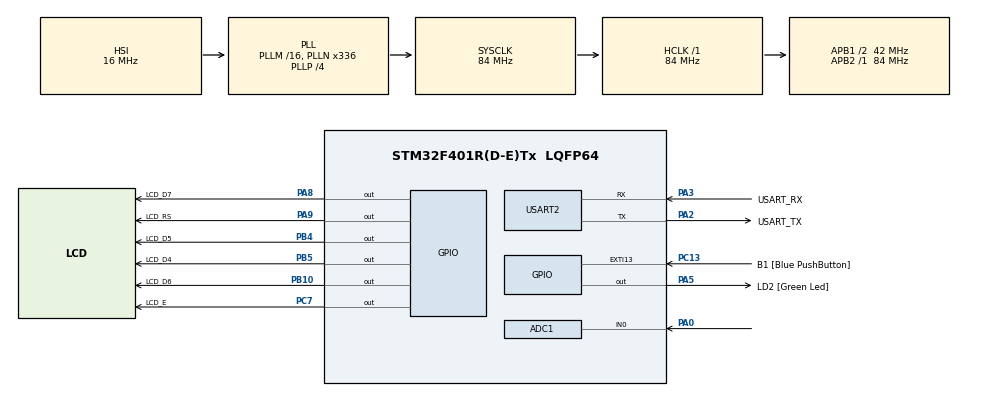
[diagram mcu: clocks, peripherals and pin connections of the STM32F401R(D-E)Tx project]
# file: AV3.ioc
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ADC1.Channel-0\#ChannelRegularConversion=ADC_CHANNEL_0
ADC1.NbrOfConversion=1
ADC1.NbrOfConversionFlag=1
ADC1.Rank-0\#ChannelRegularConversion=1
ADC1.SamplingTime-0\#ChannelRegularConversion=ADC_SAMPLETIME_3CYCLES
ADC1.master=1
Dma.Request0=USART2_RX
Dma.Request1=USART2_TX
Dma.USART2_RX.0.Direction=DMA_PERIPH_TO_MEMORY
Dma.USART2_RX.0.FIFOMode=DMA_FIFOMODE_DISABLE
Dma.USART2_RX.0.Instance=DMA1_Stream5
Dma.USART2_RX.0.MemDataAlignment=DMA_MDATAALIGN_BYTE
Dma.USART2_RX.0.MemInc=DMA_MINC_ENABLE
Dma.USART2_RX.0.Mode=DMA_NORMAL
Dma.USART2_RX.0.PeriphDataAlignment=DMA_PDATAALIGN_BYTE
Dma.USART2_RX.0.PeriphInc=DMA_PINC_DISABLE
Dma.USART2_RX.0.Priority=DMA_PRIORITY_LOW
Dma.USART2_TX.1.Direction=DMA_MEMORY_TO_PERIPH
Dma.USART2_TX.1.FIFOMode=DMA_FIFOMODE_DISABLE
Dma.USART2_TX.1.Instance=DMA1_Stream6
Dma.USART2_TX.1.MemDataAlignment=DMA_MDATAALIGN_BYTE
Dma.USART2_TX.1.MemInc=DMA_MINC_ENABLE
Dma.USART2_TX.1.Mode=DMA_NORMAL
Dma.USART2_TX.1.PeriphDataAlignment=DMA_PDATAALIGN_BYTE
Dma.USART2_TX.1.PeriphInc=DMA_PINC_DISABLE
Dma.USART2_TX.1.Priority=DMA_PRIORITY_LOW
FREERTOS.Tasks01=defaultTask,24,128,StartDefaultTask,Default,NULL,Dynamic,NULL,NULL
FREERTOS.configUSE_NEWLIB_REENTRANT=1
Mcu.Family=STM32F4
Mcu.Name=STM32F401R(D-E)Tx
Mcu.Package=LQFP64
NVIC.DMA1_Stream5_IRQn=true\:5\:0\:false\:false\:true\:true\:false\:true\:true
NVIC.DMA1_Stream6_IRQn=true\:5\:0\:false\:false\:true\:true\:false\:true\:true
NVIC.PriorityGroup=NVIC_PRIORITYGROUP_4
NVIC.TIM1_UP_TIM10_IRQn=true\:15\:0\:false\:false\:true\:false\:false\:true\:true
NVIC.TimeBase=TIM1_UP_TIM10_IRQn
NVIC.TimeBaseIP=TIM1
NVIC.USART2_IRQn=true\:5\:0\:false\:false\:true\:true\:true\:true\:true
PA0-WKUP.Signal=ADCx_IN0
PA13.GPIO_Label=TMS
PA13.Mode=Trace_Asynchronous_SW
PA13.Signal=SYS_JTMS-SWDIO
PA14.GPIO_Label=TCK
PA14.Mode=Trace_Asynchronous_SW
PA14.Signal=SYS_JTCK-SWCLK
PA2.GPIO_Label=USART_TX
PA2.GPIO_Mode=GPIO_MODE_AF_PP
PA2.GPIO_PuPd=GPIO_NOPULL
PA2.GPIO_Speed=GPIO_SPEED_FREQ_LOW
PA2.Mode=Asynchronous
PA2.Signal=USART2_TX
PA3.GPIO_Label=USART_RX
PA3.GPIO_Mode=GPIO_MODE_AF_PP
PA3.GPIO_PuPd=GPIO_NOPULL
PA3.GPIO_Speed=GPIO_SPEED_FREQ_LOW
PA3.Mode=Asynchronous
PA3.Signal=USART2_RX
PA5.GPIO_Label=LD2 [Green Led]
PA5.GPIO_Mode=GPIO_MODE_OUTPUT_PP
PA5.GPIO_PuPd=GPIO_NOPULL
PA5.GPIO_Speed=GPIO_SPEED_FREQ_LOW
PA5.Signal=GPIO_Output
PA8.GPIO_Label=LCD_D7
PA8.Signal=GPIO_Output
PA9.GPIO_Label=LCD_RS
PA9.Signal=GPIO_Output
PB10.GPIO_Label=LCD_D6
PB10.Signal=GPIO_Output
PB3.GPIO_Label=SWO
PB3.Mode=Trace_Asynchronous_SW
PB3.Signal=SYS_JTDO-SWO
PB4.GPIO_Label=LCD_D5
PB4.Signal=GPIO_Output
PB5.GPIO_Label=LCD_D4
PB5.Signal=GPIO_Output
PC13-ANTI_TAMP.GPIO_Label=B1 [Blue PushButton]
PC13-ANTI_TAMP.GPIO_ModeDefaultEXTI=GPIO_MODE_IT_FALLING
PC13-ANTI_TAMP.GPIO_PuPd=GPIO_NOPULL
PC13-ANTI_TAMP.Signal=GPXTI13
PC14-OSC32_IN.Mode=LSE-External-Oscillator
PC14-OSC32_IN.Signal=RCC_OSC32_IN
PC15-OSC32_OUT.Mode=LSE-External-Oscillator
PC15-OSC32_OUT.Signal=RCC_OSC32_OUT
PC7.GPIO_Label=LCD_E
PC7.Signal=GPIO_Output
PH0\ -\ OSC_IN.Mode=HSE-External-Clock-Source
PH0\ -\ OSC_IN.Signal=RCC_OSC_IN
PH1\ -\ OSC_OUT.Mode=HSE-External-Clock-Source
PH1\ -\ OSC_OUT.Signal=RCC_OSC_OUT
ProjectManager.HeapSize=0x200
ProjectManager.StackSize=0x400
ProjectManager.TargetToolchain=STM32CubeIDE
RCC.48MHZClocksFreq_Value=48000000
RCC.AHBFreq_Value=84000000
RCC.APB1CLKDivider=RCC_HCLK_DIV2
RCC.APB1Freq_Value=42000000
RCC.APB1TimFreq_Value=84000000
RCC.APB2Freq_Value=84000000
RCC.APB2TimFreq_Value=84000000
RCC.CortexFreq_Value=84000000
RCC.HCLKFreq_Value=84000000
RCC.HSE_VALUE=8000000
RCC.HSI_VALUE=16000000
RCC.PLLN=336
RCC.PLLP=RCC_PLLP_DIV4
RCC.PLLQ=7
RCC.SYSCLKFreq_VALUE=84000000
RCC.SYSCLKSource=RCC_SYSCLKSOURCE_PLLCLK
RCC.VCOOutputFreq_Value=336000000
SH.ADCx_IN0.0=ADC1_IN0,IN0
USART2.VirtualMode=VM_ASYNC
VP_FREERTOS_VS_CMSIS_V2.Mode=CMSIS_V2
VP_SYS_VS_tim1.Mode=TIM1
board=NUCLEO-F401RE

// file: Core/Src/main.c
/* USER CODE BEGIN Header */
/**
  ******************************************************************************
  * @file           : main.c
  * @brief          : Main program body
  ******************************************************************************
  * @attention
  *
  * Copyright (c) 2025 STMicroelectronics.
  * All rights reserved.
  *
  * This software is licensed under terms that can be found in the LICENSE file
  * in the root directory of this software component.
  * If no LICENSE file comes with this software, it is provided AS-IS.
  *
  ******************************************************************************
  */
/* USER CODE END Header */
#include "main.h"
#include "cmsis_os.h"

/* USER CODE BEGIN Includes */
#include "stdio.h"
#include "semphr.h"
#include "task.h"
#include "LCD1602.h"
#include "keypad.h"
#include "freeRTOS.h"
/* USER CODE END Includes */

ADC_HandleTypeDef hadc1;

UART_HandleTypeDef huart2;
DMA_HandleTypeDef hdma_usart2_rx;
DMA_HandleTypeDef hdma_usart2_tx;

/* Definitions for defaultTask */
osThreadId_t defaultTaskHandle;
const osThreadAttr_t defaultTask_attributes = {
  .name = "defaultTask",
  .stack_size = 128 * 4,
  .priority = (osPriority_t) osPriorityNormal,
};
/* USER CODE BEGIN PV */
SemaphoreHandle_t xBinarySemaphore;
/* USER CODE END PV */

void SystemClock_Config(void);
static void MX_GPIO_Init(void);
static void MX_DMA_Init(void);
static void MX_USART2_UART_Init(void);
static void MX_ADC1_Init(void);
void StartDefaultTask(void *argument);

/* USER CODE BEGIN PFP */
void ReadAdcTask(void *pvParameters);
void CounterTask(void *pvParameters);
void StringReciverTask(void *pvParameters);
void BlinkLEDTask(void *pvParameters);
/* USER CODE END PFP */

/* USER CODE BEGIN 0 */
#define LED GPIO_PIN_5

uint32_t adcRawRead = 0;
uint16_t counter = 0;
uint16_t key_val = 0;
uint16_t pulseFlag = 0;
static char* key_name[] = {"RGHT ","UP  ","DOWN","LEFT","SLCT","NONE"};
char uartBuffer[7] = {0,0,0,0,0,0,0};
uint8_t ch;
uint8_t indexUart = 0;
/* USER CODE END 0 */

int main(void)
{

  /* MCU Configuration--------------------------------------------------------*/

  /* Reset of all peripherals, Initializes the Flash interface and the Systick. */
  HAL_Init();

  /* USER CODE BEGIN Init */
  CoreDebug->DEMCR |= CoreDebug_DEMCR_TRCENA_Msk;
  DWT->CTRL |= DWT_CTRL_CYCCNTENA_Msk;
  /* USER CODE END Init */

  /* Configure the system clock */
  SystemClock_Config();

  /* Initialize all configured peripherals */
  MX_GPIO_Init();
  MX_DMA_Init();
  MX_USART2_UART_Init();
  MX_ADC1_Init();
  /* USER CODE BEGIN 2 */
  lcd_init();
  lcd_put_cur(0,0);
  lcd_send_string("TENSAO=");

  lcd_put_cur(1,0);
  lcd_send_string("CONT=");
  HAL_Delay(1500);

  /* USER CODE END 2 */

  /* Init scheduler */
  osKernelInitialize();

  /* USER CODE BEGIN RTOS_SEMAPHORES */
  xBinarySemaphore = xSemaphoreCreateBinary();
  xSemaphoreGive(xBinarySemaphore);
  /* USER CODE END RTOS_SEMAPHORES */

  /* Create the thread(s) */
  /* creation of defaultTask */
  defaultTaskHandle = osThreadNew(StartDefaultTask, NULL, &defaultTask_attributes);

  /* USER CODE BEGIN RTOS_THREADS */
  xTaskCreate(ReadAdcTask, "Tarefa Ler ADC",256,NULL,osPriorityNormal,NULL);
  xTaskCreate(CounterTask, "Tarefa Contador",256,NULL,osPriorityNormal,NULL);
  xTaskCreate(StringReciverTask, "Tarefa Ler String",100,NULL,osPriorityNormal,NULL);
  xTaskCreate(BlinkLEDTask, "Tarefa Piscar Led",100,NULL,osPriorityNormal,NULL);
  /* USER CODE END RTOS_THREADS */

  /* USER CODE BEGIN RTOS_EVENTS */
  vTaskStartScheduler();
  /* USER CODE END RTOS_EVENTS */

  /* Start scheduler */
  osKernelStart();

  /* We should never get here as control is now taken by the scheduler */

  /* Infinite loop */
  while (1)
  {

    /* USER CODE BEGIN 3 */
  }
  return 0;
  /* USER CODE END 3 */
}

void SystemClock_Config(void)
{
  RCC_OscInitTypeDef RCC_OscInitStruct = {0};
  RCC_ClkInitTypeDef RCC_ClkInitStruct = {0};

  /** Configure the main internal regulator output voltage
  */
  __HAL_RCC_PWR_CLK_ENABLE();
  __HAL_PWR_VOLTAGESCALING_CONFIG(PWR_REGULATOR_VOLTAGE_SCALE2);

  /** Initializes the RCC Oscillators according to the specified parameters
  * in the RCC_OscInitTypeDef structure.
  */
  RCC_OscInitStruct.OscillatorType = RCC_OSCILLATORTYPE_HSI;
  RCC_OscInitStruct.HSIState = RCC_HSI_ON;
  RCC_OscInitStruct.HSICalibrationValue = RCC_HSICALIBRATION_DEFAULT;
  RCC_OscInitStruct.PLL.PLLState = RCC_PLL_ON;
  RCC_OscInitStruct.PLL.PLLSource = RCC_PLLSOURCE_HSI;
  RCC_OscInitStruct.PLL.PLLM = 16;
  RCC_OscInitStruct.PLL.PLLN = 336;
  RCC_OscInitStruct.PLL.PLLP = RCC_PLLP_DIV4;
  RCC_OscInitStruct.PLL.PLLQ = 7;
  if (HAL_RCC_OscConfig(&RCC_OscInitStruct) != HAL_OK)
  {
    Error_Handler();
  }

  /** Initializes the CPU, AHB and APB buses clocks
  */
  RCC_ClkInitStruct.ClockType = RCC_CLOCKTYPE_HCLK|RCC_CLOCKTYPE_SYSCLK
                              |RCC_CLOCKTYPE_PCLK1|RCC_CLOCKTYPE_PCLK2;
  RCC_ClkInitStruct.SYSCLKSource = RCC_SYSCLKSOURCE_PLLCLK;
  RCC_ClkInitStruct.AHBCLKDivider = RCC_SYSCLK_DIV1;
  RCC_ClkInitStruct.APB1CLKDivider = RCC_HCLK_DIV2;
  RCC_ClkInitStruct.APB2CLKDivider = RCC_HCLK_DIV1;

  if (HAL_RCC_ClockConfig(&RCC_ClkInitStruct, FLASH_LATENCY_2) != HAL_OK)
  {
    Error_Handler();
  }
}

static void MX_ADC1_Init(void)
{

  ADC_ChannelConfTypeDef sConfig = {0};

  /** Configure the global features of the ADC (Clock, Resolution, Data Alignment and number of conversion)
  */
  hadc1.Instance = ADC1;
  hadc1.Init.ClockPrescaler = ADC_CLOCK_SYNC_PCLK_DIV4;
  hadc1.Init.Resolution = ADC_RESOLUTION_12B;
  hadc1.Init.ScanConvMode = DISABLE;
  hadc1.Init.ContinuousConvMode = DISABLE;
  hadc1.Init.DiscontinuousConvMode = DISABLE;
  hadc1.Init.ExternalTrigConvEdge = ADC_EXTERNALTRIGCONVEDGE_NONE;
  hadc1.Init.ExternalTrigConv = ADC_SOFTWARE_START;
  hadc1.Init.DataAlign = ADC_DATAALIGN_RIGHT;
  hadc1.Init.NbrOfConversion = 1;
  hadc1.Init.DMAContinuousRequests = DISABLE;
  hadc1.Init.EOCSelection = ADC_EOC_SINGLE_CONV;
  if (HAL_ADC_Init(&hadc1) != HAL_OK)
  {
    Error_Handler();
  }

  /** Configure for the selected ADC regular channel its corresponding rank in the sequencer and its sample time.
  */
  sConfig.Channel = ADC_CHANNEL_0;
  sConfig.Rank = 1;
  sConfig.SamplingTime = ADC_SAMPLETIME_3CYCLES;
  if (HAL_ADC_ConfigChannel(&hadc1, &sConfig) != HAL_OK)
  {
    Error_Handler();
  }

}

static void MX_USART2_UART_Init(void)
{

  huart2.Instance = USART2;
  huart2.Init.BaudRate = 115200;
  huart2.Init.WordLength = UART_WORDLENGTH_8B;
  huart2.Init.StopBits = UART_STOPBITS_1;
  huart2.Init.Parity = UART_PARITY_NONE;
  huart2.Init.Mode = UART_MODE_TX_RX;
  huart2.Init.HwFlowCtl = UART_HWCONTROL_NONE;
  huart2.Init.OverSampling = UART_OVERSAMPLING_16;
  if (HAL_UART_Init(&huart2) != HAL_OK)
  {
    Error_Handler();
  }

}

static void MX_DMA_Init(void)
{

  /* DMA controller clock enable */
  __HAL_RCC_DMA1_CLK_ENABLE();

  /* DMA interrupt init */
  /* DMA1_Stream5_IRQn interrupt configuration */
  HAL_NVIC_SetPriority(DMA1_Stream5_IRQn, 5, 0);
  HAL_NVIC_EnableIRQ(DMA1_Stream5_IRQn);
  /* DMA1_Stream6_IRQn interrupt configuration */
  HAL_NVIC_SetPriority(DMA1_Stream6_IRQn, 5, 0);
  HAL_NVIC_EnableIRQ(DMA1_Stream6_IRQn);

}

static void MX_GPIO_Init(void)
{
  GPIO_InitTypeDef GPIO_InitStruct = {0};

  /* GPIO Ports Clock Enable */
  __HAL_RCC_GPIOC_CLK_ENABLE();
  __HAL_RCC_GPIOH_CLK_ENABLE();
  __HAL_RCC_GPIOA_CLK_ENABLE();
  __HAL_RCC_GPIOB_CLK_ENABLE();

  /*Configure GPIO pin Output Level */
  HAL_GPIO_WritePin(GPIOA, LD2_Pin|LCD_D7_Pin|LCD_RS_Pin, GPIO_PIN_RESET);

  /*Configure GPIO pin Output Level */
  HAL_GPIO_WritePin(GPIOB, LCD_D6_Pin|LCD_D5_Pin|LCD_D4_Pin, GPIO_PIN_RESET);

  /*Configure GPIO pin Output Level */
  HAL_GPIO_WritePin(LCD_E_GPIO_Port, LCD_E_Pin, GPIO_PIN_RESET);

  /*Configure GPIO pin : B1_Pin */
  GPIO_InitStruct.Pin = B1_Pin;
  GPIO_InitStruct.Mode = GPIO_MODE_IT_FALLING;
  GPIO_InitStruct.Pull = GPIO_NOPULL;
  HAL_GPIO_Init(B1_GPIO_Port, &GPIO_InitStruct);

  /*Configure GPIO pins : LD2_Pin LCD_D7_Pin LCD_RS_Pin */
  GPIO_InitStruct.Pin = LD2_Pin|LCD_D7_Pin|LCD_RS_Pin;
  GPIO_InitStruct.Mode = GPIO_MODE_OUTPUT_PP;
  GPIO_InitStruct.Pull = GPIO_NOPULL;
  GPIO_InitStruct.Speed = GPIO_SPEED_FREQ_LOW;
  HAL_GPIO_Init(GPIOA, &GPIO_InitStruct);

  /*Configure GPIO pins : LCD_D6_Pin LCD_D5_Pin LCD_D4_Pin */
  GPIO_InitStruct.Pin = LCD_D6_Pin|LCD_D5_Pin|LCD_D4_Pin;
  GPIO_InitStruct.Mode = GPIO_MODE_OUTPUT_PP;
  GPIO_InitStruct.Pull = GPIO_NOPULL;
  GPIO_InitStruct.Speed = GPIO_SPEED_FREQ_LOW;
  HAL_GPIO_Init(GPIOB, &GPIO_InitStruct);

  /*Configure GPIO pin : LCD_E_Pin */
  GPIO_InitStruct.Pin = LCD_E_Pin;
  GPIO_InitStruct.Mode = GPIO_MODE_OUTPUT_PP;
  GPIO_InitStruct.Pull = GPIO_NOPULL;
  GPIO_InitStruct.Speed = GPIO_SPEED_FREQ_LOW;
  HAL_GPIO_Init(LCD_E_GPIO_Port, &GPIO_InitStruct);

}

/* USER CODE BEGIN 4 */
void BlinkLEDTask(void *pvParameters){
	while(1){
		HAL_GPIO_TogglePin(GPIOA, LED);
		osDelay(500);
	}
}

void ReadAdcTask(void *pvParameters){
	while(1){
		if (HAL_ADC_Start(&hadc1) != HAL_OK) continue;
		if (HAL_ADC_PollForConversion(&hadc1, 100) == HAL_OK){
			adcRawRead = HAL_ADC_GetValue(&hadc1);
			HAL_ADC_Stop(&hadc1);

			float value_to_send = ((float)adcRawRead / 4095.0f) * 3.3f;
			char voltageBuffer[16];
			sprintf(voltageBuffer, "%.1fV", value_to_send);  // add padding to clear previous
			key_val = keypad_read_key(adcRawRead);
			if(key_val == 1 && pulseFlag == 0){
				counter++;
				pulseFlag = 1;
			}else if(key_val != 1){
				pulseFlag = 0;
			}
			if (xSemaphoreTake(xBinarySemaphore, pdMS_TO_TICKS(100)) == pdTRUE) {
				lcd_put_cur(0,7);
				lcd_send_string(voltageBuffer);
				lcd_put_cur(0,12);
				lcd_send_string(key_name[key_val]);
				xSemaphoreGive(xBinarySemaphore);
				}
			if (xSemaphoreTake(xBinarySemaphore, pdMS_TO_TICKS(100)) == pdTRUE) {
				printf("Valor Lido ADC = %.1fV\n",value_to_send);
				xSemaphoreGive(xBinarySemaphore);
			}
			} else {
				HAL_ADC_Stop(&hadc1);  // Always stop to avoid stuck state
			}
		vTaskDelay(pdMS_TO_TICKS(500));
	}
}
void CounterTask(void *pvParameters){
	while(1){
		char counterBuffer[16];
		sprintf(counterBuffer, "%d", counter);
		if (xSemaphoreTake(xBinarySemaphore, pdMS_TO_TICKS(100)) == pdTRUE) {
			lcd_put_cur(1,5);
			lcd_send_string(counterBuffer);
			xSemaphoreGive(xBinarySemaphore);
		}
		if (xSemaphoreTake(xBinarySemaphore, pdMS_TO_TICKS(100)) == pdTRUE) {
			printf("Contador = %d\n",counter);
			xSemaphoreGive(xBinarySemaphore);
		}
		vTaskDelay(pdMS_TO_TICKS(500));
	}
}
void StringReciverTask(void *pvParameters){
	HAL_UART_Receive_DMA(&huart2, &ch, 1);
	while(1){
		uartBuffer[6] = '\0';
		if (xSemaphoreTake(xBinarySemaphore, pdMS_TO_TICKS(100)) == pdTRUE) {
			lcd_put_cur(1,9);
			lcd_send_string("      ");
			lcd_put_cur(1,9);
			lcd_send_string(uartBuffer);
			xSemaphoreGive(xBinarySemaphore);
		}
		vTaskDelay(pdMS_TO_TICKS(10));
	}
}
int _write(int file, char *ptr, int len) {
	HAL_UART_Transmit(&huart2, (uint8_t *)ptr, len, HAL_MAX_DELAY);
	return len;
}

void HAL_UART_RxCpltCallback(UART_HandleTypeDef *huart) {
    if (huart->Instance == USART2) {
    	uartBuffer[indexUart] = ch;
    	indexUart++;
    	if(ch == '\n'){
    		indexUart--;
    		uartBuffer[indexUart] = 0;
    		indexUart++;
    		while(indexUart < 7){
    			printf("index=%d",indexUart);
    			uartBuffer[indexUart] = 0;
    			indexUart++;

    		}
    		indexUart = 0;
    	}
    	HAL_UART_Receive_DMA(&huart2, &ch, 1);
    }
}

/* USER CODE END 4 */

void StartDefaultTask(void *argument)
{
  for(;;)
  {
    osDelay(1);
  }
}

void HAL_TIM_PeriodElapsedCallback(TIM_HandleTypeDef *htim)
{
  if (htim->Instance == TIM1)
  {
    HAL_IncTick();
  }
}

void Error_Handler(void)
{
  __disable_irq();
  while (1)
  {
  }
}
